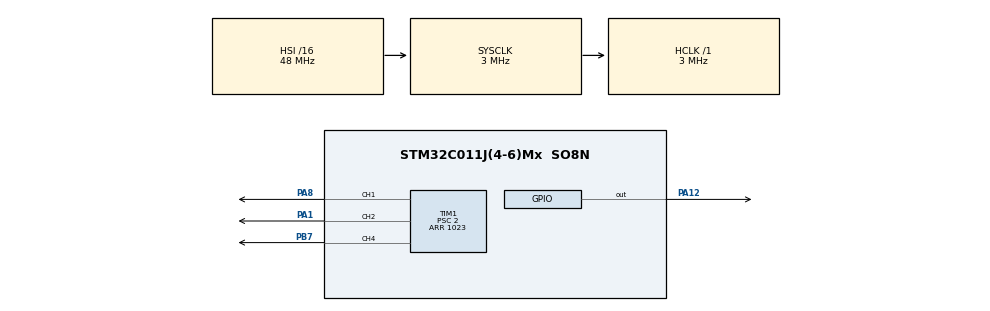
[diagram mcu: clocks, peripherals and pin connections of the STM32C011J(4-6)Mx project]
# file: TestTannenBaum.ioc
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Mcu.Family=STM32C0
Mcu.Name=STM32C011J(4-6)Mx
Mcu.Package=SO8N
NVIC.TIM3_IRQn=true\:0\:0\:false\:false\:true\:true\:true\:true
PA1.Signal=S_TIM1_CH2
PA12\ [PA10].GPIO_ModeDefaultOutputPP=GPIO_MODE_OUTPUT_OD
PA12\ [PA10].GPIO_PuPd=GPIO_NOPULL
PA12\ [PA10].PinState=GPIO_PIN_SET
PA12\ [PA10].Signal=GPIO_Output
PA13.Mode=Serial_Wire
PA13.Signal=DEBUG_SWDIO
PA14-BOOT0.Mode=Serial_Wire
PA14-BOOT0.Signal=DEBUG_SWCLK
PA8.Signal=S_TIM1_CH1
PA8__PA11\ [PA9].StandardMode=true
PB7.Signal=S_TIM1_CH4
PC14-OSCX_IN\ (PC14)__PB7.StandardMode=true
PC15-OSCX_OUT\ (PC15)__PA14-BOOT0__PB6.StandardMode=true
PF2-NRST__PA0__PA1__PA2.StandardMode=true
ProjectManager.HeapSize=0x200
ProjectManager.StackSize=0x400
ProjectManager.TargetToolchain=STM32CubeIDE
RCC.ADCFreq_Value=3000000
RCC.AHBFreq_Value=3000000
RCC.CortexFreq_Value=3000000
RCC.EXTERNAL_CLOCK_VALUE=12288000
RCC.HCLKFreq_Value=3000000
RCC.HSE_VALUE=8000000
RCC.HSISYSCLKDivider=RCC_HSI_DIV16
RCC.HSI_VALUE=48000000
RCC.LSE_VALUE=32768
RCC.SYSCLKFreq_VALUE=3000000
SH.S_TIM1_CH1.0=TIM1_CH1,PWM Generation1 CH1
SH.S_TIM1_CH2.0=TIM1_CH2,PWM Generation2 CH2
SH.S_TIM1_CH4.0=TIM1_CH4,PWM Generation4 CH4
TIM1.Channel-PWM\ Generation1\ CH1=TIM_CHANNEL_1
TIM1.Channel-PWM\ Generation2\ CH2=TIM_CHANNEL_2
TIM1.Channel-PWM\ Generation4\ CH4=TIM_CHANNEL_4
TIM1.OC1Preload_PWM=DISABLE
TIM1.OC2Preload_PWM=DISABLE
TIM1.OC4Preload_PWM=DISABLE
TIM1.OCIdleState_1=TIM_OCIDLESTATE_SET
TIM1.OCIdleState_2=TIM_OCIDLESTATE_SET
TIM1.OCIdleState_4=TIM_OCIDLESTATE_SET
TIM1.OCPolarity_1=TIM_OCPOLARITY_LOW
TIM1.OCPolarity_2=TIM_OCPOLARITY_LOW
TIM1.OCPolarity_4=TIM_OCPOLARITY_LOW
TIM1.Period=1023
TIM1.Prescaler=2
TIM1.Pulse-PWM\ Generation1\ CH1=255
TIM1.Pulse-PWM\ Generation2\ CH2=127
TIM1.Pulse-PWM\ Generation4\ CH4=511
TIM3.ClockDivision=TIM_CLOCKDIVISION_DIV1
TIM3.Period=9999
TIM3.Prescaler=5
VP_TIM1_VS_ClockSourceINT.Mode=Internal
VP_TIM3_VS_ClockSourceINT.Mode=Internal
board=custom

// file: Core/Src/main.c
/* USER CODE BEGIN Header */
/**
  ******************************************************************************
  * @file           : main.c
  * @brief          : Main program body
  ******************************************************************************
  * @attention
  *
  * Copyright (c) 2024 STMicroelectronics.
  * All rights reserved.
  *
  * This software is licensed under terms that can be found in the LICENSE file
  * in the root directory of this software component.
  * If no LICENSE file comes with this software, it is provided AS-IS.
  *
  ******************************************************************************
  */
/* USER CODE END Header */
#include "main.h"

TIM_HandleTypeDef htim1;
TIM_HandleTypeDef htim3;

/* USER CODE BEGIN PV */
	uint16_t sftwrBrightness = 0;
/* USER CODE END PV */

void SystemClock_Config(void);
static void MX_GPIO_Init(void);
static void MX_TIM1_Init(void);
static void MX_TIM3_Init(void);

int main(void)
{

  /* MCU Configuration--------------------------------------------------------*/

  /* Reset of all peripherals, Initializes the Flash interface and the Systick. */
  HAL_Init();

  /* Configure the system clock */
  SystemClock_Config();

  /* Initialize all configured peripherals */
  MX_GPIO_Init();
  MX_TIM1_Init();
  MX_TIM3_Init();
  /* USER CODE BEGIN 2 */
  HAL_TIM_PWM_Start(&htim1, TIM_CHANNEL_1);
  HAL_TIM_PWM_Start(&htim1, TIM_CHANNEL_2);
  HAL_TIM_PWM_Start(&htim1, TIM_CHANNEL_4);
  HAL_TIM_Base_Start_IT(&htim3);

  uint16_t sftwrPWMtime = 0;

//  uint32_t dummyCount = 0; // DEBUG
//  sftwrBrightness = 63; // DEBUG

  uint8_t sftwrLEDstate = 0;
  HAL_GPIO_WritePin(GPIOA, GPIO_PIN_12, GPIO_PIN_RESET);
  /* USER CODE END 2 */

  /* Infinite loop */
  while (1)
  {

    /* USER CODE BEGIN 3 */
	  // Software PWM:
	  if ((sftwrLEDstate == 0) && (sftwrBrightness < sftwrPWMtime))
	  {
		  HAL_GPIO_WritePin(GPIOA, GPIO_PIN_12, GPIO_PIN_SET);
		  sftwrLEDstate = 1;
	  }
	  sftwrPWMtime++;
	  if (sftwrPWMtime >= 1023)
	  {
		  sftwrPWMtime = 0;
		  if (sftwrBrightness != 0)
		  {
			  HAL_GPIO_WritePin(GPIOA, GPIO_PIN_12, GPIO_PIN_RESET);
		  }
		  sftwrLEDstate = 0;
	  }
//	  while (dummyCount < 10)
//	  {
//		  dummyCount++;
//	  }
//	  dummyCount=0;
	  //HAL_Delay(1); // DEBUG
  }
  /* USER CODE END 3 */
}

void SystemClock_Config(void)
{
  RCC_OscInitTypeDef RCC_OscInitStruct = {0};
  RCC_ClkInitTypeDef RCC_ClkInitStruct = {0};

  /** Initializes the RCC Oscillators according to the specified parameters
  * in the RCC_OscInitTypeDef structure.
  */
  RCC_OscInitStruct.OscillatorType = RCC_OSCILLATORTYPE_HSI;
  RCC_OscInitStruct.HSIState = RCC_HSI_ON;
  RCC_OscInitStruct.HSIDiv = RCC_HSI_DIV16;
  RCC_OscInitStruct.HSICalibrationValue = RCC_HSICALIBRATION_DEFAULT;
  if (HAL_RCC_OscConfig(&RCC_OscInitStruct) != HAL_OK)
  {
    Error_Handler();
  }

  /** Initializes the CPU, AHB and APB buses clocks
  */
  RCC_ClkInitStruct.ClockType = RCC_CLOCKTYPE_HCLK|RCC_CLOCKTYPE_SYSCLK
                              |RCC_CLOCKTYPE_PCLK1;
  RCC_ClkInitStruct.SYSCLKSource = RCC_SYSCLKSOURCE_HSI;
  RCC_ClkInitStruct.SYSCLKDivider = RCC_SYSCLK_DIV1;
  RCC_ClkInitStruct.AHBCLKDivider = RCC_HCLK_DIV1;
  RCC_ClkInitStruct.APB1CLKDivider = RCC_APB1_DIV1;

  if (HAL_RCC_ClockConfig(&RCC_ClkInitStruct, FLASH_LATENCY_0) != HAL_OK)
  {
    Error_Handler();
  }
}

static void MX_TIM1_Init(void)
{

  TIM_ClockConfigTypeDef sClockSourceConfig = {0};
  TIM_MasterConfigTypeDef sMasterConfig = {0};
  TIM_OC_InitTypeDef sConfigOC = {0};
  TIM_BreakDeadTimeConfigTypeDef sBreakDeadTimeConfig = {0};

  htim1.Instance = TIM1;
  htim1.Init.Prescaler = 2;
  htim1.Init.CounterMode = TIM_COUNTERMODE_UP;
  htim1.Init.Period = 1023;
  htim1.Init.ClockDivision = TIM_CLOCKDIVISION_DIV1;
  htim1.Init.RepetitionCounter = 0;
  htim1.Init.AutoReloadPreload = TIM_AUTORELOAD_PRELOAD_DISABLE;
  if (HAL_TIM_Base_Init(&htim1) != HAL_OK)
  {
    Error_Handler();
  }
  sClockSourceConfig.ClockSource = TIM_CLOCKSOURCE_INTERNAL;
  if (HAL_TIM_ConfigClockSource(&htim1, &sClockSourceConfig) != HAL_OK)
  {
    Error_Handler();
  }
  if (HAL_TIM_PWM_Init(&htim1) != HAL_OK)
  {
    Error_Handler();
  }
  sMasterConfig.MasterOutputTrigger = TIM_TRGO_RESET;
  sMasterConfig.MasterOutputTrigger2 = TIM_TRGO2_RESET;
  sMasterConfig.MasterSlaveMode = TIM_MASTERSLAVEMODE_DISABLE;
  if (HAL_TIMEx_MasterConfigSynchronization(&htim1, &sMasterConfig) != HAL_OK)
  {
    Error_Handler();
  }
  sConfigOC.OCMode = TIM_OCMODE_PWM1;
  sConfigOC.Pulse = 255;
  sConfigOC.OCPolarity = TIM_OCPOLARITY_LOW;
  sConfigOC.OCNPolarity = TIM_OCNPOLARITY_HIGH;
  sConfigOC.OCFastMode = TIM_OCFAST_DISABLE;
  sConfigOC.OCIdleState = TIM_OCIDLESTATE_SET;
  sConfigOC.OCNIdleState = TIM_OCNIDLESTATE_RESET;
  if (HAL_TIM_PWM_ConfigChannel(&htim1, &sConfigOC, TIM_CHANNEL_1) != HAL_OK)
  {
    Error_Handler();
  }
  __HAL_TIM_DISABLE_OCxPRELOAD(&htim1, TIM_CHANNEL_1);
  sConfigOC.Pulse = 127;
  if (HAL_TIM_PWM_ConfigChannel(&htim1, &sConfigOC, TIM_CHANNEL_2) != HAL_OK)
  {
    Error_Handler();
  }
  __HAL_TIM_DISABLE_OCxPRELOAD(&htim1, TIM_CHANNEL_2);
  sConfigOC.Pulse = 511;
  if (HAL_TIM_PWM_ConfigChannel(&htim1, &sConfigOC, TIM_CHANNEL_4) != HAL_OK)
  {
    Error_Handler();
  }
  __HAL_TIM_DISABLE_OCxPRELOAD(&htim1, TIM_CHANNEL_4);
  sBreakDeadTimeConfig.OffStateRunMode = TIM_OSSR_DISABLE;
  sBreakDeadTimeConfig.OffStateIDLEMode = TIM_OSSI_DISABLE;
  sBreakDeadTimeConfig.LockLevel = TIM_LOCKLEVEL_OFF;
  sBreakDeadTimeConfig.DeadTime = 0;
  sBreakDeadTimeConfig.BreakState = TIM_BREAK_DISABLE;
  sBreakDeadTimeConfig.BreakPolarity = TIM_BREAKPOLARITY_HIGH;
  sBreakDeadTimeConfig.BreakFilter = 0;
  sBreakDeadTimeConfig.BreakAFMode = TIM_BREAK_AFMODE_INPUT;
  sBreakDeadTimeConfig.Break2State = TIM_BREAK2_DISABLE;
  sBreakDeadTimeConfig.Break2Polarity = TIM_BREAK2POLARITY_HIGH;
  sBreakDeadTimeConfig.Break2Filter = 0;
  sBreakDeadTimeConfig.Break2AFMode = TIM_BREAK_AFMODE_INPUT;
  sBreakDeadTimeConfig.AutomaticOutput = TIM_AUTOMATICOUTPUT_DISABLE;
  if (HAL_TIMEx_ConfigBreakDeadTime(&htim1, &sBreakDeadTimeConfig) != HAL_OK)
  {
    Error_Handler();
  }
  HAL_TIM_MspPostInit(&htim1);

}

static void MX_TIM3_Init(void)
{

  TIM_ClockConfigTypeDef sClockSourceConfig = {0};
  TIM_MasterConfigTypeDef sMasterConfig = {0};

  htim3.Instance = TIM3;
  htim3.Init.Prescaler = 5;
  htim3.Init.CounterMode = TIM_COUNTERMODE_UP;
  htim3.Init.Period = 9999;
  htim3.Init.ClockDivision = TIM_CLOCKDIVISION_DIV1;
  htim3.Init.AutoReloadPreload = TIM_AUTORELOAD_PRELOAD_DISABLE;
  if (HAL_TIM_Base_Init(&htim3) != HAL_OK)
  {
    Error_Handler();
  }
  sClockSourceConfig.ClockSource = TIM_CLOCKSOURCE_INTERNAL;
  if (HAL_TIM_ConfigClockSource(&htim3, &sClockSourceConfig) != HAL_OK)
  {
    Error_Handler();
  }
  sMasterConfig.MasterOutputTrigger = TIM_TRGO_RESET;
  sMasterConfig.MasterSlaveMode = TIM_MASTERSLAVEMODE_DISABLE;
  if (HAL_TIMEx_MasterConfigSynchronization(&htim3, &sMasterConfig) != HAL_OK)
  {
    Error_Handler();
  }

}

static void MX_GPIO_Init(void)
{
  GPIO_InitTypeDef GPIO_InitStruct = {0};

  /* GPIO Ports Clock Enable */
  __HAL_RCC_GPIOB_CLK_ENABLE();
  __HAL_RCC_GPIOA_CLK_ENABLE();

  /*Configure GPIO pin Output Level */
  HAL_GPIO_WritePin(GPIOA, GPIO_PIN_12, GPIO_PIN_SET);

  /*Configure GPIO pin : PA12 */
  GPIO_InitStruct.Pin = GPIO_PIN_12;
  GPIO_InitStruct.Mode = GPIO_MODE_OUTPUT_OD;
  GPIO_InitStruct.Pull = GPIO_NOPULL;
  GPIO_InitStruct.Speed = GPIO_SPEED_FREQ_LOW;
  HAL_GPIO_Init(GPIOA, &GPIO_InitStruct);

}

void Error_Handler(void)
{
  __disable_irq();
  while (1)
  {
  }
}
